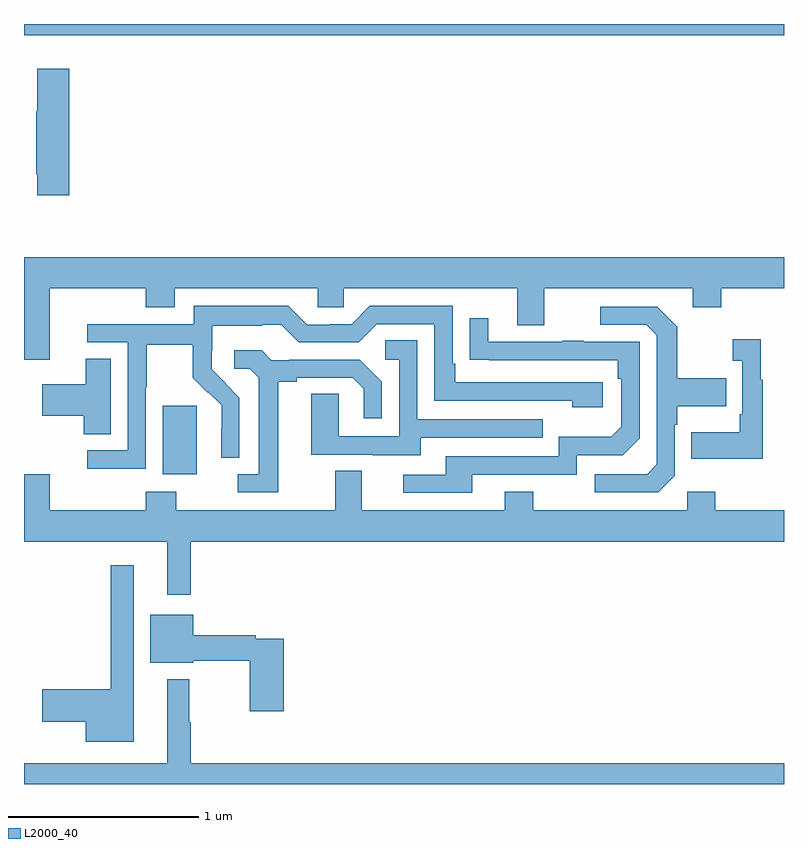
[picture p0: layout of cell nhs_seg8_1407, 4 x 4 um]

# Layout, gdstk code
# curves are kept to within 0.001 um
import gdstk
lib = gdstk.Library(unit=1e-6, precision=1e-09)
def R(c, l, rs):  # rectangles x0, y0, x1, y1
    for r in rs: c.add(gdstk.rectangle(r[:2], r[2:], *l))
def P(c, l, *ps):  # polygons
    for p in ps: c.add(gdstk.Polygon(p, *l))
L2000_40 = (2000, 40)

nhs_seg8_1407 = lib.new_cell('nhs_seg8_1407')
R(nhs_seg8_1407, L2000_40, [(201.731,1107.53,201.91,1107.891), (201,1109.84,205,1109.9)])
P(nhs_seg8_1407, L2000_40, [(201.239,1109.665),(201.071,1109.665),(201.071,1109.441),(201.064,1109.441),(201.064,1109.11),(201.071,1109.11),(201.071,1108.998),(201.239,1108.998)],
  [(201.136,1108.508),(201.641,1108.508),(201.641,1108.409),(201.793,1108.409),(201.793,1108.508),(202.545,1108.508),(202.545,1108.41),(202.683,1108.41),(202.683,1108.508),(203.597,1108.508),(203.597,1108.314),(203.737,1108.314),(203.737,1108.508),(204.521,1108.508),(204.521,1108.409),(204.669,1108.409),(204.669,1108.508),(205,1108.508),(205,1108.672),(201,1108.672),(201,1108.134),(201.136,1108.134)],
  [(201.642,1107.988),(201.645,1107.988),(201.645,1108.212),(201.889,1108.212),(201.889,1108.037),(201.966,1107.96),(201.969,1107.963),(202.04,1107.893),(202.04,1107.77),(202.038,1107.77),(202.038,1107.616),(202.134,1107.616),(202.134,1107.934),(201.988,1108.082),(201.988,1108.179),(201.99,1108.179),(201.99,1108.313),(202.253,1108.313),(202.253,1108.317),(202.353,1108.317),(202.446,1108.224),(202.761,1108.224),(202.857,1108.32),(203.16,1108.32),(203.16,1107.918),(203.885,1107.918),(203.885,1107.884),(204.046,1107.884),(204.046,1108.014),(203.269,1108.014),(203.269,1108.111),(203.256,1108.111),(203.256,1108.416),(202.821,1108.416),(202.725,1108.32),(202.607,1108.32),(202.607,1108.317),(202.491,1108.317),(202.391,1108.417),(201.894,1108.417),(201.894,1108.32),(201.333,1108.32),(201.333,1108.224),(201.546,1108.224),(201.546,1107.657),(201.333,1107.657),(201.333,1107.559),(201.642,1107.559)],
  [(204.426,1107.522),(204.426,1107.791),(204.439,1107.791),(204.439,1107.887),(204.695,1107.887),(204.695,1108.035),(204.439,1108.035),(204.439,1108.307),(204.333,1108.413),(204.033,1108.413),(204.033,1108.317),(204.276,1108.317),(204.33,1108.263),(204.33,1107.582),(204.279,1107.531),(204.003,1107.531),(204.003,1107.435),(204.339,1107.435)],
  [(203.359,1107.528),(203.91,1107.528),(203.91,1107.63),(204.15,1107.63),(204.24,1107.72),(204.24,1108.227),(203.945,1108.227),(203.945,1108.232),(203.833,1108.232),(203.833,1108.227),(203.443,1108.227),(203.443,1108.351),(203.347,1108.351),(203.347,1108.132),(204.124,1108.131),(204.124,1108.034),(204.144,1108.034),(204.144,1107.78),(204.091,1107.727),(203.814,1107.727),(203.814,1107.624),(203.219,1107.624),(203.219,1107.528),(202.995,1107.528),(202.995,1107.432),(203.359,1107.432)],
  [(204.889,1108.027),(204.877,1108.027),(204.877,1108.24),(204.729,1108.24),(204.729,1108.127),(204.78,1108.127),(204.78,1107.847),(204.768,1107.847),(204.768,1107.751),(204.511,1107.751),(204.511,1107.611),(204.889,1107.611)],
  [(203.089,1107.723),(203.729,1107.723),(203.729,1107.819),(203.07,1107.819),(203.07,1108.235),(202.902,1108.235),(202.902,1108.134),(202.974,1108.134),(202.974,1107.729),(202.656,1107.729),(202.656,1107.953),(202.511,1107.953),(202.511,1107.633),(202.835,1107.633),(202.835,1107.629),(203.089,1107.629)],
  [(202.339,1108.016),(202.435,1108.016),(202.435,1108.038),(202.73,1108.038),(202.787,1107.981),(202.787,1107.825),(202.884,1107.825),(202.884,1108.018),(202.768,1108.134),(202.396,1108.134),(202.396,1108.131),(202.302,1108.131),(202.25,1108.183),(202.107,1108.183),(202.107,1108.086),(202.188,1108.086),(202.235,1108.039),(202.235,1107.531),(202.125,1107.531),(202.125,1107.435),(202.339,1107.435)],
  [(201.457,1108.139),(201.326,1108.139),(201.326,1108.003),(201.096,1108.003),(201.096,1107.838),(201.314,1107.838),(201.314,1107.742),(201.457,1107.742)],
  [(201.877,1107.176),(205,1107.176),(205,1107.34),(204.639,1107.34),(204.639,1107.439),(204.492,1107.439),(204.492,1107.34),(203.679,1107.34),(203.679,1107.439),(203.531,1107.439),(203.531,1107.34),(202.777,1107.34),(202.777,1107.548),(202.637,1107.548),(202.637,1107.34),(201.801,1107.34),(201.801,1107.439),(201.641,1107.439),(201.641,1107.34),(201.136,1107.34),(201.136,1107.529),(201,1107.529),(201,1107.176),(201.755,1107.176),(201.755,1106.895),(201.877,1106.895)],
  [(201.577,1107.052),(201.456,1107.052),(201.456,1106.399),(201.096,1106.399),(201.096,1106.228),(201.326,1106.228),(201.326,1106.123),(201.577,1106.123)],
  [(202.367,1106.664),(202.22,1106.664),(202.22,1106.684),(201.892,1106.684),(201.892,1106.791),(201.665,1106.791),(201.665,1106.537),(201.892,1106.537),(201.892,1106.548),(202.189,1106.548),(202.189,1106.283),(202.367,1106.283)],
  [(205,1106.008),(201.877,1106.008),(201.877,1106.225),(201.869,1106.225),(201.869,1106.452),(201.755,1106.452),(201.755,1106.008),(201,1106.008),(201,1105.9),(205,1105.9)])

lib.write_gds('nhs_seg8_1407.gds')
